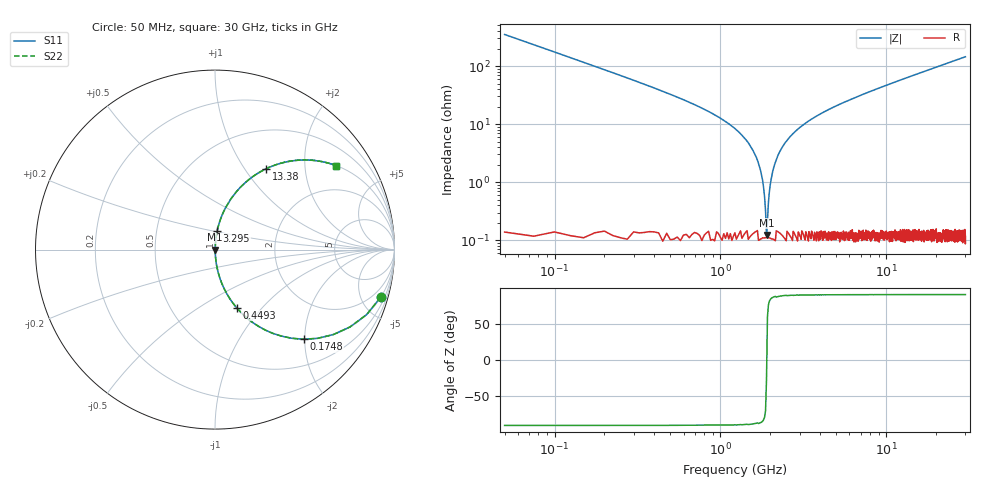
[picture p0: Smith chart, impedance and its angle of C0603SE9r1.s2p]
!	AVX Thin Film Operation 	Date: April 2014
!	Description: Accu-P® Series, Thin Film  SMD RF Capacitor
!	Part Number: 06035J9R1BBSTR
# MHZ S MA R 50
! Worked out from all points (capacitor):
!   1201 points, 50 MHz to 30 GHz, reference 50 ohm
!   read as one part in series: C = 9.1 pF near 199.8 MHz
!   lowest |Z| = 124 mohm at 1.897 GHz (marker M1)
!   series resonance near 1.903 GHz, so ESL is about 770 pH
!   S11 on the Smith chart (normalised r, x): 50 MHz: 1.01, -6.99; 174.8 MHz: 1.00, -1.98; 449.3 MHz: 1.00, -0.74; 3.295 GHz: 1.00, +0.21; 13.38 GHz: 1.00, +1.27; 30 GHz: 1.00, +2.89
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50  0.961 -16.0  0.275 74.0  0.275 74.0  0.961 -16.0
174.792  0.704 -45.2  0.709 44.7  0.709 44.7  0.704 -45.2
299.583  0.494 -60.3  0.868 29.6  0.868 29.6  0.494 -60.3
449.333  0.345 -69.7  0.938 20.2  0.938 20.2  0.345 -69.7
848.667  0.163 -80.2  0.985 9.4  0.985 9.4  0.163 -80.2
1447.667  0.051 -85.7  0.997 2.9  0.997 2.9  0.051 -85.7
1622.375  0.029 -85.9  0.998 1.7  0.998 1.7  0.029 -85.9
1697.25  0.021 -85.5  0.999 1.2  0.999 1.2  0.021 -85.5
1797.083  0.011 -82.8  0.999 0.6  0.999 0.6  0.011 -82.8
1896.917  0.001335 -24.0  0.999 0.0  0.999 0.0  0.001335 -24.0
1996.75  0.00896 81.7  0.999 -0.5  0.999 -0.5  0.00896 81.7
2146.5  0.022 85.6  0.999 -1.3  0.999 -1.3  0.022 85.6
2371.125  0.041 86.0  0.998 -2.3  0.998 -2.3  0.041 86.0
2745.5  0.069 85.0  0.996 -3.9  0.996 -3.9  0.069 85.0
3294.583  0.105 83.3  0.993 -6.0  0.993 -6.0  0.105 83.3
5041.667  0.204 77.9  0.978 -11.8  0.978 -11.8  0.204 77.9
10058.29  0.424 64.8  0.905 -25.1  0.905 -25.1  0.424 64.8
13377.75  0.535 57.6  0.844 -32.3  0.844 -32.3  0.535 57.6
15025  0.581 54.4  0.813 -35.5  0.813 -35.5  0.581 54.4
20016.67  0.691 46.2  0.721 -43.7  0.721 -43.7  0.691 46.2
25033.29  0.769 39.7  0.639 -50.2  0.639 -50.2  0.769 39.7
30000  0.822 34.7  0.569 -55.3  0.569 -55.3  0.822 34.7
